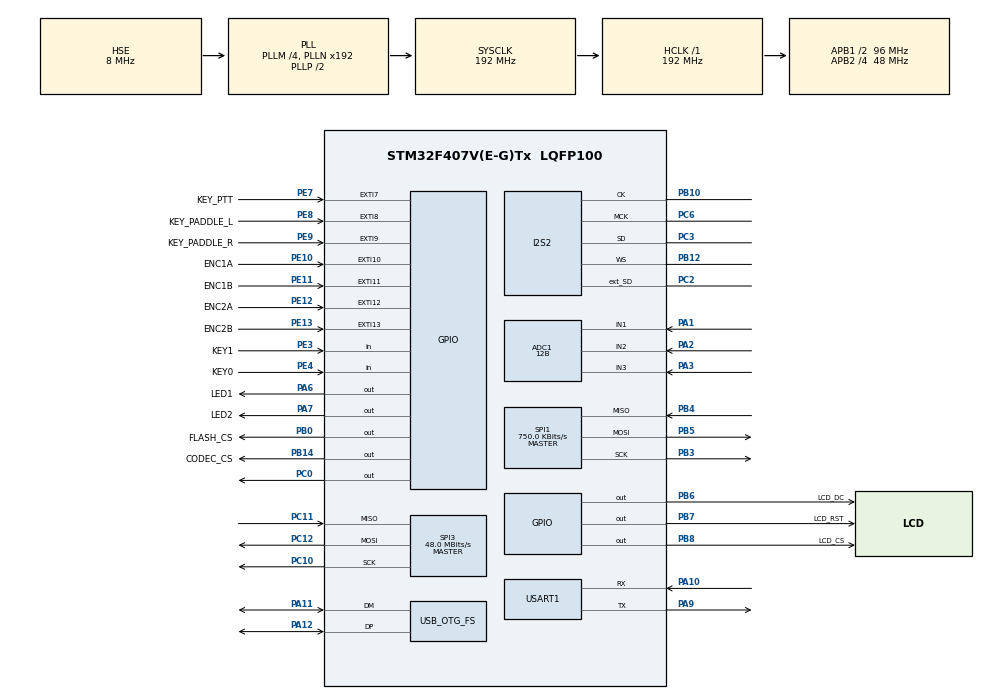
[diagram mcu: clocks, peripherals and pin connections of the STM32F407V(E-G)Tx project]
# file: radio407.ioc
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ADC1.Channel-0\#ChannelRegularConversion=ADC_CHANNEL_1
ADC1.Channel-5\#ChannelRegularConversion=ADC_CHANNEL_2
ADC1.Channel-6\#ChannelRegularConversion=ADC_CHANNEL_3
ADC1.ClockPrescaler=ADC_CLOCK_SYNC_PCLK_DIV8
ADC1.ContinuousConvMode=ENABLE
ADC1.DMAContinuousRequests=ENABLE
ADC1.EOCSelection=ADC_EOC_SEQ_CONV
ADC1.InjNumberOfConversion=0
ADC1.NbrOfConversion=3
ADC1.NbrOfConversionFlag=1
ADC1.Rank-5\#ChannelRegularConversion=2
ADC1.Rank-6\#ChannelRegularConversion=3
ADC1.Resolution=ADC_RESOLUTION_12B
ADC1.SamplingTime-0\#ChannelRegularConversion=ADC_SAMPLETIME_15CYCLES
ADC1.SamplingTime-5\#ChannelRegularConversion=ADC_SAMPLETIME_15CYCLES
ADC1.SamplingTime-6\#ChannelRegularConversion=ADC_SAMPLETIME_15CYCLES
ADC1.ScanConvMode=ENABLE
ADC1.master=1
Dma.ADC1.3.Direction=DMA_PERIPH_TO_MEMORY
Dma.ADC1.3.FIFOMode=DMA_FIFOMODE_DISABLE
Dma.ADC1.3.Instance=DMA2_Stream0
Dma.ADC1.3.MemDataAlignment=DMA_MDATAALIGN_HALFWORD
Dma.ADC1.3.MemInc=DMA_MINC_ENABLE
Dma.ADC1.3.Mode=DMA_CIRCULAR
Dma.ADC1.3.PeriphDataAlignment=DMA_PDATAALIGN_HALFWORD
Dma.ADC1.3.PeriphInc=DMA_PINC_DISABLE
Dma.ADC1.3.Priority=DMA_PRIORITY_LOW
Dma.I2S2_EXT_RX.1.Direction=DMA_PERIPH_TO_MEMORY
Dma.I2S2_EXT_RX.1.FIFOMode=DMA_FIFOMODE_DISABLE
Dma.I2S2_EXT_RX.1.Instance=DMA1_Stream3
Dma.I2S2_EXT_RX.1.MemDataAlignment=DMA_MDATAALIGN_HALFWORD
Dma.I2S2_EXT_RX.1.MemInc=DMA_MINC_ENABLE
Dma.I2S2_EXT_RX.1.Mode=DMA_CIRCULAR
Dma.I2S2_EXT_RX.1.PeriphDataAlignment=DMA_PDATAALIGN_HALFWORD
Dma.I2S2_EXT_RX.1.PeriphInc=DMA_PINC_DISABLE
Dma.I2S2_EXT_RX.1.Priority=DMA_PRIORITY_VERY_HIGH
Dma.Request0=USART1_TX
Dma.Request1=I2S2_EXT_RX
Dma.Request2=SPI2_TX
Dma.Request3=ADC1
Dma.Request4=SPI3_TX
Dma.SPI2_TX.2.Direction=DMA_MEMORY_TO_PERIPH
Dma.SPI2_TX.2.FIFOMode=DMA_FIFOMODE_DISABLE
Dma.SPI2_TX.2.Instance=DMA1_Stream4
Dma.SPI2_TX.2.MemDataAlignment=DMA_MDATAALIGN_HALFWORD
Dma.SPI2_TX.2.MemInc=DMA_MINC_ENABLE
Dma.SPI2_TX.2.Mode=DMA_CIRCULAR
Dma.SPI2_TX.2.PeriphDataAlignment=DMA_PDATAALIGN_HALFWORD
Dma.SPI2_TX.2.PeriphInc=DMA_PINC_DISABLE
Dma.SPI2_TX.2.Priority=DMA_PRIORITY_VERY_HIGH
Dma.SPI3_TX.4.Direction=DMA_MEMORY_TO_PERIPH
Dma.SPI3_TX.4.FIFOMode=DMA_FIFOMODE_DISABLE
Dma.SPI3_TX.4.Instance=DMA1_Stream5
Dma.SPI3_TX.4.MemDataAlignment=DMA_MDATAALIGN_BYTE
Dma.SPI3_TX.4.MemInc=DMA_MINC_ENABLE
Dma.SPI3_TX.4.Mode=DMA_NORMAL
Dma.SPI3_TX.4.PeriphDataAlignment=DMA_PDATAALIGN_BYTE
Dma.SPI3_TX.4.PeriphInc=DMA_PINC_DISABLE
Dma.SPI3_TX.4.Priority=DMA_PRIORITY_VERY_HIGH
Dma.USART1_TX.0.Direction=DMA_MEMORY_TO_PERIPH
Dma.USART1_TX.0.FIFOMode=DMA_FIFOMODE_DISABLE
Dma.USART1_TX.0.Instance=DMA2_Stream7
Dma.USART1_TX.0.MemDataAlignment=DMA_MDATAALIGN_BYTE
Dma.USART1_TX.0.MemInc=DMA_MINC_ENABLE
Dma.USART1_TX.0.Mode=DMA_NORMAL
Dma.USART1_TX.0.PeriphDataAlignment=DMA_PDATAALIGN_BYTE
Dma.USART1_TX.0.PeriphInc=DMA_PINC_DISABLE
Dma.USART1_TX.0.Priority=DMA_PRIORITY_LOW
I2S2.AudioFreq=I2S_AUDIOFREQ_48K
I2S2.CPOL=I2S_CPOL_LOW
I2S2.DataFormat=I2S_DATAFORMAT_16B
I2S2.ErrorAudioFreq=-0.17 %
I2S2.FullDuplexMode=I2S_FULLDUPLEXMODE_ENABLE
I2S2.Instance=SPI$Index
I2S2.Mode=I2S_MODE_MASTER_TX
I2S2.RealAudioFreq=47.916 KHz
I2S2.Standard=I2S_STANDARD_PHILIPS
I2S2.VirtualMode=I2S_MODE_MASTER
Mcu.Family=STM32F4
Mcu.Name=STM32F407V(E-G)Tx
Mcu.Package=LQFP100
NVIC.DMA1_Stream3_IRQn=true\:0\:0\:false\:false\:true\:false\:true
NVIC.DMA1_Stream4_IRQn=true\:0\:0\:false\:false\:true\:false\:true
NVIC.DMA1_Stream5_IRQn=true\:0\:0\:false\:false\:true\:false\:true
NVIC.DMA2_Stream0_IRQn=true\:0\:0\:false\:false\:true\:false\:true
NVIC.DMA2_Stream7_IRQn=true\:0\:0\:false\:false\:true\:false\:true
NVIC.EXTI15_10_IRQn=true\:0\:0\:false\:false\:true\:true\:true
NVIC.EXTI9_5_IRQn=true\:0\:0\:false\:false\:true\:true\:true
NVIC.PriorityGroup=NVIC_PRIORITYGROUP_4
NVIC.SPI2_IRQn=true\:0\:0\:false\:false\:true\:true\:true
NVIC.SPI3_IRQn=true\:0\:0\:false\:false\:true\:true\:true
NVIC.TIM7_IRQn=true\:0\:0\:false\:false\:true\:true\:true
NVIC.USART1_IRQn=true\:0\:0\:false\:false\:true\:true\:true
PA1.Signal=ADCx_IN1
PA10.Mode=Asynchronous
PA10.Signal=USART1_RX
PA11.Mode=Device_Only
PA11.Signal=USB_OTG_FS_DM
PA12.Mode=Device_Only
PA12.Signal=USB_OTG_FS_DP
PA13.Mode=Serial_Wire
PA13.Signal=SYS_JTMS-SWDIO
PA14.Mode=Serial_Wire
PA14.Signal=SYS_JTCK-SWCLK
PA2.Signal=ADCx_IN2
PA3.Signal=ADCx_IN3
PA6.GPIO_Label=LED1
PA6.GPIO_ModeDefaultOutputPP=GPIO_MODE_OUTPUT_OD
PA6.Signal=GPIO_Output
PA7.GPIO_Label=LED2
PA7.GPIO_ModeDefaultOutputPP=GPIO_MODE_OUTPUT_OD
PA7.Signal=GPIO_Output
PA9.Mode=Asynchronous
PA9.Signal=USART1_TX
PB0.GPIO_Label=FLASH_CS
PB0.GPIO_ModeDefaultOutputPP=GPIO_MODE_OUTPUT_PP
PB0.GPIO_PuPd=GPIO_PULLUP
PB0.GPIO_Speed=GPIO_SPEED_FREQ_HIGH
PB0.PinState=GPIO_PIN_SET
PB0.Signal=GPIO_Output
PB10.Mode=Full_Duplex_Master
PB10.Signal=I2S2_CK
PB12.Mode=Full_Duplex_Master
PB12.Signal=I2S2_WS
PB14.GPIO_Label=CODEC_CS
PB14.GPIO_PuPd=GPIO_PULLUP
PB14.GPIO_Speed=GPIO_SPEED_FREQ_VERY_HIGH
PB14.PinState=GPIO_PIN_SET
PB14.Signal=GPIO_Output
PB3.Mode=Full_Duplex_Master
PB3.Signal=SPI1_SCK
PB4.Mode=Full_Duplex_Master
PB4.Signal=SPI1_MISO
PB5.Mode=Full_Duplex_Master
PB5.Signal=SPI1_MOSI
PB6.GPIO_Label=LCD_DC
PB6.GPIO_Speed=GPIO_SPEED_FREQ_VERY_HIGH
PB6.Signal=GPIO_Output
PB7.GPIO_Label=LCD_RST
PB7.GPIO_Speed=GPIO_SPEED_FREQ_VERY_HIGH
PB7.Signal=GPIO_Output
PB8.GPIO_Label=LCD_CS
PB8.GPIO_Speed=GPIO_SPEED_FREQ_VERY_HIGH
PB8.Signal=GPIO_Output
PC0.GPIO_PuPd=GPIO_PULLUP
PC0.GPIO_Speed=GPIO_SPEED_FREQ_HIGH
PC0.PinState=GPIO_PIN_SET
PC0.Signal=GPIO_Output
PC10.Mode=Full_Duplex_Master
PC10.Signal=SPI3_SCK
PC11.Mode=Full_Duplex_Master
PC11.Signal=SPI3_MISO
PC12.Mode=Full_Duplex_Master
PC12.Signal=SPI3_MOSI
PC14-OSC32_IN.Mode=LSE-External-Oscillator
PC14-OSC32_IN.Signal=RCC_OSC32_IN
PC15-OSC32_OUT.Mode=LSE-External-Oscillator
PC15-OSC32_OUT.Signal=RCC_OSC32_OUT
PC2.Mode=Full_Duplex_Master
PC2.Signal=I2S2_ext_SD
PC3.Mode=Full_Duplex_Master
PC3.Signal=I2S2_SD
PC6.Mode=Master_Clock_Activated
PC6.Signal=I2S2_MCK
PE10.GPIO_Label=ENC1A
PE10.GPIO_ModeDefaultEXTI=GPIO_MODE_IT_RISING_FALLING
PE10.GPIO_PuPd=GPIO_PULLUP
PE10.Signal=GPXTI10
PE11.GPIO_Label=ENC1B
PE11.GPIO_ModeDefaultEXTI=GPIO_MODE_IT_RISING_FALLING
PE11.GPIO_PuPd=GPIO_PULLUP
PE11.Signal=GPXTI11
PE12.GPIO_Label=ENC2A
PE12.GPIO_ModeDefaultEXTI=GPIO_MODE_IT_RISING_FALLING
PE12.GPIO_PuPd=GPIO_PULLUP
PE12.Signal=GPXTI12
PE13.GPIO_Label=ENC2B
PE13.GPIO_ModeDefaultEXTI=GPIO_MODE_IT_RISING_FALLING
PE13.GPIO_PuPd=GPIO_PULLUP
PE13.Signal=GPXTI13
PE3.GPIO_Label=KEY1
PE3.GPIO_PuPd=GPIO_PULLUP
PE3.Signal=GPIO_Input
PE4.GPIO_Label=KEY0
PE4.GPIO_PuPd=GPIO_PULLUP
PE4.Signal=GPIO_Input
PE7.GPIO_Label=KEY_PTT
PE7.GPIO_ModeDefaultEXTI=GPIO_MODE_IT_RISING_FALLING
PE7.GPIO_PuPd=GPIO_PULLUP
PE7.Signal=GPXTI7
PE8.GPIO_Label=KEY_PADDLE_L
PE8.GPIO_ModeDefaultEXTI=GPIO_MODE_IT_RISING_FALLING
PE8.GPIO_PuPd=GPIO_PULLUP
PE8.Signal=GPXTI8
PE9.GPIO_Label=KEY_PADDLE_R
PE9.GPIO_ModeDefaultEXTI=GPIO_MODE_IT_RISING_FALLING
PE9.GPIO_PuPd=GPIO_PULLUP
PE9.Signal=GPXTI9
PH0-OSC_IN.Mode=HSE-External-Oscillator
PH0-OSC_IN.Signal=RCC_OSC_IN
PH1-OSC_OUT.Mode=HSE-External-Oscillator
PH1-OSC_OUT.Signal=RCC_OSC_OUT
ProjectManager.HeapSize=0x400
ProjectManager.StackSize=0x800
ProjectManager.TargetToolchain=STM32CubeIDE
RCC.48MHZClocksFreq_Value=48000000
RCC.AHBFreq_Value=192000000
RCC.APB1CLKDivider=RCC_HCLK_DIV2
RCC.APB1Freq_Value=96000000
RCC.APB1TimFreq_Value=192000000
RCC.APB2CLKDivider=RCC_HCLK_DIV4
RCC.APB2Freq_Value=48000000
RCC.APB2TimFreq_Value=96000000
RCC.CortexFreq_Value=192000000
RCC.HCLKFreq_Value=192000000
RCC.HSE_VALUE=8000000
RCC.HSI_VALUE=16000000
RCC.PLLI2SN=184
RCC.PLLI2SR=3
RCC.PLLM=4
RCC.PLLQ=8
RCC.RCC_RTC_Clock_Source=RCC_RTCCLKSOURCE_LSE
RCC.RCC_RTC_Clock_SourceVirtual=RCC_RTCCLKSOURCE_LSE
RCC.SYSCLKFreq_VALUE=192000000
RCC.SYSCLKSource=RCC_SYSCLKSOURCE_PLLCLK
RCC.VCOOutputFreq_Value=384000000
SH.ADCx_IN1.0=ADC1_IN1,IN1
SH.ADCx_IN2.0=ADC1_IN2,IN2
SH.ADCx_IN3.0=ADC1_IN3,IN3
SPI1.BaudRatePrescaler=SPI_BAUDRATEPRESCALER_64
SPI1.CLKPhase=SPI_PHASE_1EDGE
SPI1.CalculateBaudRate=750.0 KBits/s
SPI1.DataSize=SPI_DATASIZE_16BIT
SPI1.Direction=SPI_DIRECTION_2LINES
SPI1.Mode=SPI_MODE_MASTER
SPI1.VirtualType=VM_MASTER
SPI3.BaudRatePrescaler=SPI_BAUDRATEPRESCALER_2
SPI3.CLKPolarity=SPI_POLARITY_LOW
SPI3.CalculateBaudRate=48.0 MBits/s
SPI3.DataSize=SPI_DATASIZE_8BIT
SPI3.Direction=SPI_DIRECTION_2LINES
SPI3.Mode=SPI_MODE_MASTER
SPI3.TIMode=SPI_TIMODE_DISABLE
SPI3.VirtualType=VM_MASTER
TIM7.Period=19199
USART1.VirtualMode=VM_ASYNC
USB_OTG_FS.VirtualMode=Device_Only
VP_RTC_VS_RTC_Activate.Mode=RTC_Enabled
VP_TIM7_VS_ClockSourceINT.Mode=Enable_Timer
board=custom

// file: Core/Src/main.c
/* USER CODE BEGIN Header */
/**
  ******************************************************************************
  * @file           : main.c
  * @brief          : Main program body
  ******************************************************************************
  * @attention
  *
  * <h2><center>&copy; Copyright (c) 2021 STMicroelectronics.
  * All rights reserved.</center></h2>
  *
  * This software component is licensed by ST under BSD 3-Clause license,
  * the "License"; You may not use this file except in compliance with the
  * License. You may obtain a copy of the License at:
  *                        opensource.org/licenses/BSD-3-Clause
  *
  ******************************************************************************
  */
/* USER CODE END Header */
#include "main.h"

ADC_HandleTypeDef hadc1;
DMA_HandleTypeDef hdma_adc1;

I2S_HandleTypeDef hi2s2;
DMA_HandleTypeDef hdma_i2s2_ext_rx;
DMA_HandleTypeDef hdma_spi2_tx;

RTC_HandleTypeDef hrtc;

SPI_HandleTypeDef hspi1;
SPI_HandleTypeDef hspi3;
DMA_HandleTypeDef hdma_spi3_tx;

TIM_HandleTypeDef htim7;

UART_HandleTypeDef huart1;
DMA_HandleTypeDef hdma_usart1_tx;

PCD_HandleTypeDef hpcd_USB_OTG_FS;

void SystemClock_Config(void);
static void MX_GPIO_Init(void);
static void MX_DMA_Init(void);
static void MX_SPI1_Init(void);
static void MX_I2S2_Init(void);
static void MX_SPI3_Init(void);
static void MX_USART1_UART_Init(void);
static void MX_TIM7_Init(void);
static void MX_ADC1_Init(void);
static void MX_USB_OTG_FS_PCD_Init(void);
static void MX_RTC_Init(void);

/* USER CODE BEGIN 0 */

//#include "usbd_cdc_if.h"

#include "global.h"
#include "tools.h"
#include "hw.h"
#include "dsp.h"
#include "fir.h"
#include "audio_cfg.h"
#include "gfx.h"
#include "adc.h"
#include "buttons.h"
#include "encoder.h"
#include "cw.h"
#include "fft.h"
#include "soft_sched.h"
#include "soft_timer.h"
#include "rtc.h"

#include <stdio.h>
#include <stdarg.h>
#include <stdbool.h>

// #include "stm32f4xx_hal_i2s_ex.h"

void testMethod(void){
	//firTest();
	//firFloat(coeffs, floatInput, floatOutput, size, FILTER_LEN);
	//AudioAgc_RunAgcWdsp(320, &agcInput,0);
	//ILI9341_Fill_Screen(WHITE);

	//(int16_t blockSize, float32_t (*agcbuffer)[AUDIO_BLOCK_SIZE], const bool use_stereo);
}

/* USER CODE END 0 */

int main(void)
{

  /* MCU Configuration--------------------------------------------------------*/

  /* Reset of all peripherals, Initializes the Flash interface and the Systick. */
  HAL_Init();

  /* Configure the system clock */
  SystemClock_Config();

  /* Initialize all configured peripherals */
  MX_GPIO_Init();
  MX_DMA_Init();
  MX_SPI1_Init();
  MX_I2S2_Init();
  MX_SPI3_Init();
  MX_USART1_UART_Init();
  MX_TIM7_Init();
  MX_ADC1_Init();
  MX_USB_OTG_FS_PCD_Init();
  MX_RTC_Init();
  /* USER CODE BEGIN 2 */

	HAL_Delay(500);
	debugInit();
	initHardware();
	rtcInit();
	dspInit();
	firInit();
	fftInit();
	cwInit();
	debugPrintFast("init done");
	HAL_Delay(100);
	HAL_GPIO_WritePin(GPIOA, GPIO_PIN_6, 1);
	HAL_GPIO_WritePin(GPIOA, GPIO_PIN_7, 0);

	HAL_TIM_Base_Start_IT(&htim7);
	adcStart();
	dspStartAudio();
	extIntSet(1);

	TM_RTC_t a;
	TM_RTC_GetDateTime(&a, TM_RTC_Format_BIN);
	a.Hours = 12;
	a.Minutes = 34;
	a.Seconds = 56;
	TM_RTC_SetDateTime(&a, TM_RTC_Format_BIN);

	//HAL_Delay(100);
  /* USER CODE END 2 */

  /* Infinite loop */
  /* USER CODE BEGIN WHILE */

float testFloat = 1.0f;

	//HAL_ADC_Start(&hadc1);
	//HAL_ADC_Start_DMA(&hadc1, (uint32_t*)&adcData[0], 3);

	gfxItemsInit();
	uint32_t nextTime = 0;
	/*
	for (int i=0; i<FFT_USEFUL_BINS; i++){
		for (int j=0; j<FFT_WF_LEN;j++){
			fftWFdata[j][i] = rand()%256;
		}
	}*/

	HAL_Delay(100);

	bool dspRingOld = !dspRingHalf;
	softTasks[TASK_GFX_ALL].isEnabled= 0;

	while (1)
	{

		dspProc();
/*
		if (dspRingHalf != dspRingOld){
			//gfxUpdateQueue();
			softTasks[TASK_GFX_ALL].executeNow = 1;
			dspRingOld = dspRingHalf;
		}
*/

		 processSoftTasksSync();
		 processSoftTasksAsync();

	  //HAL_GPIO_TogglePin(GPIOA, GPIO_PIN_6);
	  //HAL_GPIO_TogglePin(GPIOA, GPIO_PIN_7);
	 // debugPrint("%u | %u", testInt[0],testInt[1] );
	  //HAL_Delay(5);

/*
	  uint32_t timeAllStart = preciseTimerValue();

	  uint32_t timeNow = preciseTimerValue();
	  if (timeNow >= nextTime){
		  testFloat+=1.5f;

		  //int val = (preciseTimerValue()  >> 12) & 0x01;
		  //LCDdrawIndicator(val);

		  //debugPrint("%.1f%%|%.1f%%", getAudioLoadPossible(), everythingElseLoad);
		  //adcSmoothen();
		  //debugPrint("%i", adcCh[ADC_BUTTONS].ADCsmooth);

		  //debugPrint("%.2f @ %u Hz", maxValue, (maxIndex*(AUDIO_FREQ/FFT_LEN/2)));

		  //LCDtestDraw();

		  static bool wfLater;
		  if (wfLater){
		  		  gfxItems[G_FFT_BINS].pendUpd = 0;
		  		  gfxItems[G_FFT_WF].pendUpd = 1;
		  	  }
		  	  else{
		  		  gfxItems[G_FFT_BINS].pendUpd = 1;
		  		  gfxItems[G_FFT_WF].pendUpd = 0;
		  	  }
		  	  wfLater = !wfLater;

		  //fftWaterfallShift();

	  nextTime = preciseTimerValue() + SOFT_MS(500); // every 50ms
	  }

	  //gfxItemsRedraw();

/*
	  static bool wfLater;
	  if (wfLater) {
		  gfxItems[G_FFT_BINS].pendUpd = 0;
		  gfxItems[G_FFT_WF].pendUpd = 1;
		  wfLater = 0;
	  } else if ((gfxItems[G_FFT_BINS].pendUpd) && (gfxItems[G_FFT_WF].pendUpd)){
			  gfxItems[G_FFT_BINS].pendUpd = 1;
			  gfxItems[G_FFT_WF].pendUpd = 0;
			  wfLater = 1;
		  }
	  }

	  //HAL_Delay(3);

	  //fftWaterfallShift

	  uint32_t timeAllNow = preciseTimerValue() - timeAllStart;
	  float everythingMs = ((float)timeAllNow/10.0);
	  float allBufMs = (AUDIO_BUFFER_MS/2.0f);
	  everythingElseLoad = everythingMs/allBufMs*100.0f;
*/

	  //debugPrint("%.2f %.2f %.2f %.2f %.2f", mags[0],mags[1],mags[2],mags[3],mags[4]);

    /* USER CODE END WHILE */

  }
}

void SystemClock_Config(void)
{
  RCC_OscInitTypeDef RCC_OscInitStruct = {0};
  RCC_ClkInitTypeDef RCC_ClkInitStruct = {0};

  /** Configure the main internal regulator output voltage
  */
  __HAL_RCC_PWR_CLK_ENABLE();
  __HAL_PWR_VOLTAGESCALING_CONFIG(PWR_REGULATOR_VOLTAGE_SCALE1);
  /** Initializes the RCC Oscillators according to the specified parameters
  * in the RCC_OscInitTypeDef structure.
  */
  RCC_OscInitStruct.OscillatorType = RCC_OSCILLATORTYPE_HSE|RCC_OSCILLATORTYPE_LSE;
  RCC_OscInitStruct.HSEState = RCC_HSE_ON;
  RCC_OscInitStruct.LSEState = RCC_LSE_ON;
  RCC_OscInitStruct.PLL.PLLState = RCC_PLL_ON;
  RCC_OscInitStruct.PLL.PLLSource = RCC_PLLSOURCE_HSE;
  RCC_OscInitStruct.PLL.PLLM = 4;
  RCC_OscInitStruct.PLL.PLLN = 192;
  RCC_OscInitStruct.PLL.PLLP = RCC_PLLP_DIV2;
  RCC_OscInitStruct.PLL.PLLQ = 8;
  if (HAL_RCC_OscConfig(&RCC_OscInitStruct) != HAL_OK)
  {
    Error_Handler();
  }
  /** Initializes the CPU, AHB and APB buses clocks
  */
  RCC_ClkInitStruct.ClockType = RCC_CLOCKTYPE_HCLK|RCC_CLOCKTYPE_SYSCLK
                              |RCC_CLOCKTYPE_PCLK1|RCC_CLOCKTYPE_PCLK2;
  RCC_ClkInitStruct.SYSCLKSource = RCC_SYSCLKSOURCE_PLLCLK;
  RCC_ClkInitStruct.AHBCLKDivider = RCC_SYSCLK_DIV1;
  RCC_ClkInitStruct.APB1CLKDivider = RCC_HCLK_DIV2;
  RCC_ClkInitStruct.APB2CLKDivider = RCC_HCLK_DIV4;

  if (HAL_RCC_ClockConfig(&RCC_ClkInitStruct, FLASH_LATENCY_5) != HAL_OK)
  {
    Error_Handler();
  }
}

static void MX_ADC1_Init(void)
{

  ADC_ChannelConfTypeDef sConfig = {0};

  /** Configure the global features of the ADC (Clock, Resolution, Data Alignment and number of conversion)
  */
  hadc1.Instance = ADC1;
  hadc1.Init.ClockPrescaler = ADC_CLOCK_SYNC_PCLK_DIV8;
  hadc1.Init.Resolution = ADC_RESOLUTION_12B;
  hadc1.Init.ScanConvMode = ENABLE;
  hadc1.Init.ContinuousConvMode = ENABLE;
  hadc1.Init.DiscontinuousConvMode = DISABLE;
  hadc1.Init.ExternalTrigConvEdge = ADC_EXTERNALTRIGCONVEDGE_NONE;
  hadc1.Init.ExternalTrigConv = ADC_SOFTWARE_START;
  hadc1.Init.DataAlign = ADC_DATAALIGN_RIGHT;
  hadc1.Init.NbrOfConversion = 3;
  hadc1.Init.DMAContinuousRequests = ENABLE;
  hadc1.Init.EOCSelection = ADC_EOC_SEQ_CONV;
  if (HAL_ADC_Init(&hadc1) != HAL_OK)
  {
    Error_Handler();
  }
  /** Configure for the selected ADC regular channel its corresponding rank in the sequencer and its sample time.
  */
  sConfig.Channel = ADC_CHANNEL_1;
  sConfig.Rank = 1;
  sConfig.SamplingTime = ADC_SAMPLETIME_15CYCLES;
  if (HAL_ADC_ConfigChannel(&hadc1, &sConfig) != HAL_OK)
  {
    Error_Handler();
  }
  /** Configure for the selected ADC regular channel its corresponding rank in the sequencer and its sample time.
  */
  sConfig.Channel = ADC_CHANNEL_2;
  sConfig.Rank = 2;
  if (HAL_ADC_ConfigChannel(&hadc1, &sConfig) != HAL_OK)
  {
    Error_Handler();
  }
  /** Configure for the selected ADC regular channel its corresponding rank in the sequencer and its sample time.
  */
  sConfig.Channel = ADC_CHANNEL_3;
  sConfig.Rank = 3;
  if (HAL_ADC_ConfigChannel(&hadc1, &sConfig) != HAL_OK)
  {
    Error_Handler();
  }

}

static void MX_I2S2_Init(void)
{

  hi2s2.Instance = SPI2;
  hi2s2.Init.Mode = I2S_MODE_MASTER_TX;
  hi2s2.Init.Standard = I2S_STANDARD_PHILIPS;
  hi2s2.Init.DataFormat = I2S_DATAFORMAT_16B;
  hi2s2.Init.MCLKOutput = I2S_MCLKOUTPUT_ENABLE;
  hi2s2.Init.AudioFreq = I2S_AUDIOFREQ_48K;
  hi2s2.Init.CPOL = I2S_CPOL_LOW;
  hi2s2.Init.ClockSource = I2S_CLOCK_PLL;
  hi2s2.Init.FullDuplexMode = I2S_FULLDUPLEXMODE_ENABLE;
  if (HAL_I2S_Init(&hi2s2) != HAL_OK)
  {
    Error_Handler();
  }

}

static void MX_RTC_Init(void)
{

  /** Initialize RTC Only
  */
  hrtc.Instance = RTC;
  hrtc.Init.HourFormat = RTC_HOURFORMAT_24;
  hrtc.Init.AsynchPrediv = 127;
  hrtc.Init.SynchPrediv = 255;
  hrtc.Init.OutPut = RTC_OUTPUT_DISABLE;
  hrtc.Init.OutPutPolarity = RTC_OUTPUT_POLARITY_HIGH;
  hrtc.Init.OutPutType = RTC_OUTPUT_TYPE_OPENDRAIN;
  if (HAL_RTC_Init(&hrtc) != HAL_OK)
  {
    Error_Handler();
  }

}

static void MX_SPI1_Init(void)
{

  /* SPI1 parameter configuration*/
  hspi1.Instance = SPI1;
  hspi1.Init.Mode = SPI_MODE_MASTER;
  hspi1.Init.Direction = SPI_DIRECTION_2LINES;
  hspi1.Init.DataSize = SPI_DATASIZE_16BIT;
  hspi1.Init.CLKPolarity = SPI_POLARITY_LOW;
  hspi1.Init.CLKPhase = SPI_PHASE_1EDGE;
  hspi1.Init.NSS = SPI_NSS_SOFT;
  hspi1.Init.BaudRatePrescaler = SPI_BAUDRATEPRESCALER_64;
  hspi1.Init.FirstBit = SPI_FIRSTBIT_MSB;
  hspi1.Init.TIMode = SPI_TIMODE_DISABLE;
  hspi1.Init.CRCCalculation = SPI_CRCCALCULATION_DISABLE;
  hspi1.Init.CRCPolynomial = 10;
  if (HAL_SPI_Init(&hspi1) != HAL_OK)
  {
    Error_Handler();
  }

}

static void MX_SPI3_Init(void)
{

  /* SPI3 parameter configuration*/
  hspi3.Instance = SPI3;
  hspi3.Init.Mode = SPI_MODE_MASTER;
  hspi3.Init.Direction = SPI_DIRECTION_2LINES;
  hspi3.Init.DataSize = SPI_DATASIZE_8BIT;
  hspi3.Init.CLKPolarity = SPI_POLARITY_LOW;
  hspi3.Init.CLKPhase = SPI_PHASE_1EDGE;
  hspi3.Init.NSS = SPI_NSS_SOFT;
  hspi3.Init.BaudRatePrescaler = SPI_BAUDRATEPRESCALER_2;
  hspi3.Init.FirstBit = SPI_FIRSTBIT_MSB;
  hspi3.Init.TIMode = SPI_TIMODE_DISABLE;
  hspi3.Init.CRCCalculation = SPI_CRCCALCULATION_DISABLE;
  hspi3.Init.CRCPolynomial = 10;
  if (HAL_SPI_Init(&hspi3) != HAL_OK)
  {
    Error_Handler();
  }

}

static void MX_TIM7_Init(void)
{

  TIM_MasterConfigTypeDef sMasterConfig = {0};

  htim7.Instance = TIM7;
  htim7.Init.Prescaler = 0;
  htim7.Init.CounterMode = TIM_COUNTERMODE_UP;
  htim7.Init.Period = 19199;
  htim7.Init.AutoReloadPreload = TIM_AUTORELOAD_PRELOAD_DISABLE;
  if (HAL_TIM_Base_Init(&htim7) != HAL_OK)
  {
    Error_Handler();
  }
  sMasterConfig.MasterOutputTrigger = TIM_TRGO_RESET;
  sMasterConfig.MasterSlaveMode = TIM_MASTERSLAVEMODE_DISABLE;
  if (HAL_TIMEx_MasterConfigSynchronization(&htim7, &sMasterConfig) != HAL_OK)
  {
    Error_Handler();
  }

}

static void MX_USART1_UART_Init(void)
{

  /* USER CODE BEGIN USART1_Init 0 */
  dbgUartPtr = &huart1;
  /* USER CODE END USART1_Init 0 */

  huart1.Instance = USART1;
  huart1.Init.BaudRate = 115200;
  huart1.Init.WordLength = UART_WORDLENGTH_8B;
  huart1.Init.StopBits = UART_STOPBITS_1;
  huart1.Init.Parity = UART_PARITY_NONE;
  huart1.Init.Mode = UART_MODE_TX_RX;
  huart1.Init.HwFlowCtl = UART_HWCONTROL_NONE;
  huart1.Init.OverSampling = UART_OVERSAMPLING_16;
  if (HAL_UART_Init(&huart1) != HAL_OK)
  {
    Error_Handler();
  }

}

static void MX_USB_OTG_FS_PCD_Init(void)
{

  hpcd_USB_OTG_FS.Instance = USB_OTG_FS;
  hpcd_USB_OTG_FS.Init.dev_endpoints = 4;
  hpcd_USB_OTG_FS.Init.speed = PCD_SPEED_FULL;
  hpcd_USB_OTG_FS.Init.dma_enable = DISABLE;
  hpcd_USB_OTG_FS.Init.phy_itface = PCD_PHY_EMBEDDED;
  hpcd_USB_OTG_FS.Init.Sof_enable = DISABLE;
  hpcd_USB_OTG_FS.Init.low_power_enable = DISABLE;
  hpcd_USB_OTG_FS.Init.lpm_enable = DISABLE;
  hpcd_USB_OTG_FS.Init.vbus_sensing_enable = DISABLE;
  hpcd_USB_OTG_FS.Init.use_dedicated_ep1 = DISABLE;
  if (HAL_PCD_Init(&hpcd_USB_OTG_FS) != HAL_OK)
  {
    Error_Handler();
  }

}

static void MX_DMA_Init(void)
{

  /* DMA controller clock enable */
  __HAL_RCC_DMA2_CLK_ENABLE();
  __HAL_RCC_DMA1_CLK_ENABLE();

  /* DMA interrupt init */
  /* DMA1_Stream3_IRQn interrupt configuration */
  HAL_NVIC_SetPriority(DMA1_Stream3_IRQn, 0, 0);
  HAL_NVIC_EnableIRQ(DMA1_Stream3_IRQn);
  /* DMA1_Stream4_IRQn interrupt configuration */
  HAL_NVIC_SetPriority(DMA1_Stream4_IRQn, 0, 0);
  HAL_NVIC_EnableIRQ(DMA1_Stream4_IRQn);
  /* DMA1_Stream5_IRQn interrupt configuration */
  HAL_NVIC_SetPriority(DMA1_Stream5_IRQn, 0, 0);
  HAL_NVIC_EnableIRQ(DMA1_Stream5_IRQn);
  /* DMA2_Stream0_IRQn interrupt configuration */
  HAL_NVIC_SetPriority(DMA2_Stream0_IRQn, 0, 0);
  HAL_NVIC_EnableIRQ(DMA2_Stream0_IRQn);
  /* DMA2_Stream7_IRQn interrupt configuration */
  HAL_NVIC_SetPriority(DMA2_Stream7_IRQn, 0, 0);
  HAL_NVIC_EnableIRQ(DMA2_Stream7_IRQn);

}

static void MX_GPIO_Init(void)
{
  GPIO_InitTypeDef GPIO_InitStruct = {0};

  /* GPIO Ports Clock Enable */
  __HAL_RCC_GPIOE_CLK_ENABLE();
  __HAL_RCC_GPIOC_CLK_ENABLE();
  __HAL_RCC_GPIOH_CLK_ENABLE();
  __HAL_RCC_GPIOA_CLK_ENABLE();
  __HAL_RCC_GPIOB_CLK_ENABLE();

  /*Configure GPIO pin Output Level */
  HAL_GPIO_WritePin(GPIOC, GPIO_PIN_0, GPIO_PIN_SET);

  /*Configure GPIO pin Output Level */
  HAL_GPIO_WritePin(GPIOA, LED1_Pin|LED2_Pin, GPIO_PIN_RESET);

  /*Configure GPIO pin Output Level */
  HAL_GPIO_WritePin(GPIOB, FLASH_CS_Pin|CODEC_CS_Pin, GPIO_PIN_SET);

  /*Configure GPIO pin Output Level */
  HAL_GPIO_WritePin(GPIOB, LCD_DC_Pin|LCD_RST_Pin|LCD_CS_Pin, GPIO_PIN_RESET);

  /*Configure GPIO pins : KEY1_Pin KEY0_Pin */
  GPIO_InitStruct.Pin = KEY1_Pin|KEY0_Pin;
  GPIO_InitStruct.Mode = GPIO_MODE_INPUT;
  GPIO_InitStruct.Pull = GPIO_PULLUP;
  HAL_GPIO_Init(GPIOE, &GPIO_InitStruct);

  /*Configure GPIO pin : PC0 */
  GPIO_InitStruct.Pin = GPIO_PIN_0;
  GPIO_InitStruct.Mode = GPIO_MODE_OUTPUT_PP;
  GPIO_InitStruct.Pull = GPIO_PULLUP;
  GPIO_InitStruct.Speed = GPIO_SPEED_FREQ_HIGH;
  HAL_GPIO_Init(GPIOC, &GPIO_InitStruct);

  /*Configure GPIO pins : LED1_Pin LED2_Pin */
  GPIO_InitStruct.Pin = LED1_Pin|LED2_Pin;
  GPIO_InitStruct.Mode = GPIO_MODE_OUTPUT_OD;
  GPIO_InitStruct.Pull = GPIO_NOPULL;
  GPIO_InitStruct.Speed = GPIO_SPEED_FREQ_LOW;
  HAL_GPIO_Init(GPIOA, &GPIO_InitStruct);

  /*Configure GPIO pin : FLASH_CS_Pin */
  GPIO_InitStruct.Pin = FLASH_CS_Pin;
  GPIO_InitStruct.Mode = GPIO_MODE_OUTPUT_PP;
  GPIO_InitStruct.Pull = GPIO_PULLUP;
  GPIO_InitStruct.Speed = GPIO_SPEED_FREQ_HIGH;
  HAL_GPIO_Init(FLASH_CS_GPIO_Port, &GPIO_InitStruct);

  /*Configure GPIO pins : KEY_PTT_Pin KEY_PADDLE_L_Pin KEY_PADDLE_R_Pin ENC1A_Pin
                           ENC1B_Pin ENC2A_Pin ENC2B_Pin */
  GPIO_InitStruct.Pin = KEY_PTT_Pin|KEY_PADDLE_L_Pin|KEY_PADDLE_R_Pin|ENC1A_Pin
                          |ENC1B_Pin|ENC2A_Pin|ENC2B_Pin;
  GPIO_InitStruct.Mode = GPIO_MODE_IT_RISING_FALLING;
  GPIO_InitStruct.Pull = GPIO_PULLUP;
  HAL_GPIO_Init(GPIOE, &GPIO_InitStruct);

  /*Configure GPIO pin : CODEC_CS_Pin */
  GPIO_InitStruct.Pin = CODEC_CS_Pin;
  GPIO_InitStruct.Mode = GPIO_MODE_OUTPUT_PP;
  GPIO_InitStruct.Pull = GPIO_PULLUP;
  GPIO_InitStruct.Speed = GPIO_SPEED_FREQ_VERY_HIGH;
  HAL_GPIO_Init(CODEC_CS_GPIO_Port, &GPIO_InitStruct);

  /*Configure GPIO pins : LCD_DC_Pin LCD_RST_Pin LCD_CS_Pin */
  GPIO_InitStruct.Pin = LCD_DC_Pin|LCD_RST_Pin|LCD_CS_Pin;
  GPIO_InitStruct.Mode = GPIO_MODE_OUTPUT_PP;
  GPIO_InitStruct.Pull = GPIO_NOPULL;
  GPIO_InitStruct.Speed = GPIO_SPEED_FREQ_VERY_HIGH;
  HAL_GPIO_Init(GPIOB, &GPIO_InitStruct);

  /* EXTI interrupt init*/
  HAL_NVIC_SetPriority(EXTI9_5_IRQn, 0, 0);
  HAL_NVIC_EnableIRQ(EXTI9_5_IRQn);

  HAL_NVIC_SetPriority(EXTI15_10_IRQn, 0, 0);
  HAL_NVIC_EnableIRQ(EXTI15_10_IRQn);

}

/* USER CODE BEGIN 4 */

void HAL_ADC_ConvCpltCallback(ADC_HandleTypeDef* hadc){
	adcSmoothen();
}

/* USER CODE END 4 */

void Error_Handler(void)
{
  __disable_irq();
  while (1)
  {
  }
}

/************************ (C) COPYRIGHT STMicroelectronics *****END OF FILE****/
